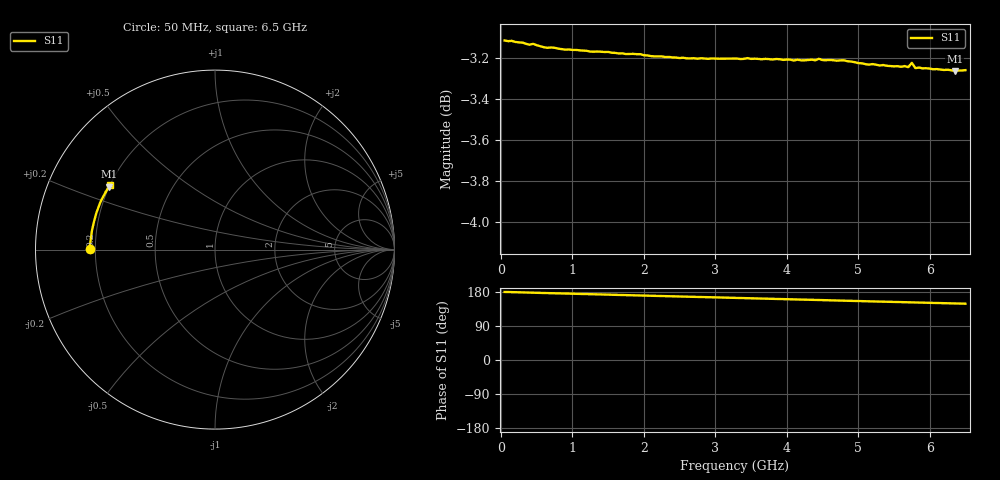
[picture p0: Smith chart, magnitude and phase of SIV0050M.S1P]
! (c) 1999  Infineon Technologies AG, Munich
! Infineon Technologies  Discrete & RF Semiconductors
! BAT24-02LS
! Si Schottky Diode in TSSLP-2
! IF = 50 mA
! S-Parameters:  July  2007
# GHz  S  MA  R  50
!  f  S11
! GHz  MAG  ANG
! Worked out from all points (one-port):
!   130 points, 50 MHz to 6.5 GHz, reference 50 ohm
!   lowest |S11| = -3.3 dB at 6.35 GHz (marker M1), VSWR 5.38, Z = 9.96 + j13.2 ohm
!   |S11| at or under -10 dB: nowhere
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0.05  0.6986 179.6
0.15  0.6984 179.2
0.4  0.6969 177.8
0.9  0.695 175.4
1.3  0.6942 173.4
1.4  0.6942 173.0
1.6  0.6937 171.9
1.7  0.6936 171.5
1.85  0.6934 170.8
1.95  0.6933 170.2
2.05  0.6927 169.8
2.5  0.6917 167.6
3.3  0.6916 163.8
3.75  0.6913 161.7
4  0.6912 160.4
4.1  0.6908 160.0
4.45  0.6915 158.3
4.8  0.6909 156.5
4.9  0.6904 156.1
5.15  0.6892 154.8
5.3  0.6889 154.2
5.45  0.6886 153.4
5.7  0.6882 152.3
5.75  0.6899 152.1
5.8  0.6879 151.8
6.2  0.6872 149.9
6.35  0.6867 149.3
6.5  0.6871 148.6
